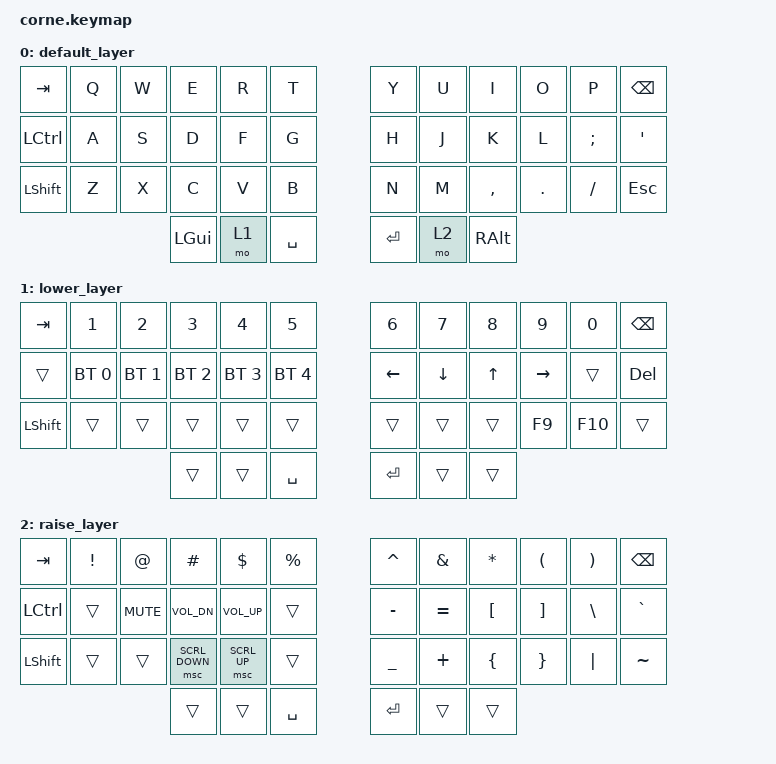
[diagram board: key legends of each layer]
/*
 * Copyright (c) 2020 The ZMK Contributors
 *
 * SPDX-License-Identifier: MIT
 */

#include <behaviors.dtsi>
#include <dt-bindings/zmk/bt.h>
#include <dt-bindings/zmk/keys.h>
#include <dt-bindings/zmk/pointing.h>

/ {
    keymap {
        compatible = "zmk,keymap";

        default_layer {
            // -----------------------------------------------------------------------------------------
            // |  TAB |  Q  |  W  |  E  |  R  |  T  |   |  Y  |  U   |  I  |  O  |  P  | BSPC |
            // | CTRL |  A  |  S  |  D  |  F  |  G  |   |  H  |  J   |  K  |  L  |  ;  |  '   |
            // | SHFT |  Z  |  X  |  C  |  V  |  B  |   |  N  |  M   |  ,  |  .  |  /  | ESC  |
            //                    | GUI | LWR | SPC |   | ENT | RSE  | ALT |

            bindings = <
&kp TAB    &kp Q  &kp W  &kp E     &kp R  &kp T        &kp Y    &kp U  &kp I      &kp O    &kp P     &kp BSPC
&kp LCTRL  &kp A  &kp S  &kp D     &kp F  &kp G        &kp H    &kp J  &kp K      &kp L    &kp SEMI  &kp SQT
&kp LSHFT  &kp Z  &kp X  &kp C     &kp V  &kp B        &kp N    &kp M  &kp COMMA  &kp DOT  &kp FSLH  &kp ESC
                         &kp LGUI  &mo 1  &kp SPACE    &kp RET  &mo 2  &kp RALT
            >;
        };

        lower_layer {
            // -----------------------------------------------------------------------------------------
            // |  TAB |  1  |  2  |  3  |  4  |  5  |   |  6  |  7  |  8  |  9  |  0  | BSPC |
            // | BTCLR| BT1 | BT2 | BT3 | BT4 | BT5 |   | LFT | DWN |  UP | RGT |     |      |
            // | SHFT |     |     |     |     |     |   |     |     |     |     |     |      |
            //                    | GUI |     | SPC |   | ENT |     | ALT |

            bindings = <
&kp TAB    &kp N1        &kp N2        &kp N3        &kp N4        &kp N5          &kp N6    &kp N7    &kp N8  &kp N9     &kp N0   &kp BSPC
&trans     &bt BT_SEL 0  &bt BT_SEL 1  &bt BT_SEL 2  &bt BT_SEL 3  &bt BT_SEL 4    &kp LEFT  &kp DOWN  &kp UP  &kp RIGHT  &trans   &kp DELETE
&kp LSHFT  &trans        &trans        &trans        &trans        &trans          &trans    &trans    &trans  &kp F9     &kp F10  &trans
                                       &trans        &trans        &kp SPACE       &kp RET   &trans    &trans
            >;
        };

        raise_layer {
            // -----------------------------------------------------------------------------------------
            // |  TAB |  !  |  @  |  #  |  $  |  %  |   |  ^  |  &  |  *  |  (  |  )  | BSPC |
            // | CTRL |     |     |     |     |     |   |  -  |  =  |  [  |  ]  |  \  |  `   |
            // | SHFT |     |     |     |     |     |   |  _  |  +  |  {  |  }  | "|" |  ~   |
            //                    | GUI |     | SPC |   | ENT |     | ALT |

            bindings = <
&kp TAB    &kp EXCL  &kp AT      &kp HASH        &kp DLLR      &kp PRCNT    &kp CARET  &kp AMPS   &kp ASTRK  &kp LPAR  &kp RPAR  &kp BSPC
&kp LCTRL  &trans    &kp K_MUTE  &kp C_VOL_DN    &kp C_VOL_UP  &trans       &kp MINUS  &kp EQUAL  &kp LBKT   &kp RBKT  &kp BSLH  &kp GRAVE
&kp LSHFT  &trans    &trans      &msc SCRL_DOWN  &msc SCRL_UP  &trans       &kp UNDER  &kp PLUS   &kp LBRC   &kp RBRC  &kp PIPE  &kp TILDE
                                 &trans          &trans        &kp SPACE    &kp RET    &trans     &trans
            >;
        };
    };
};
